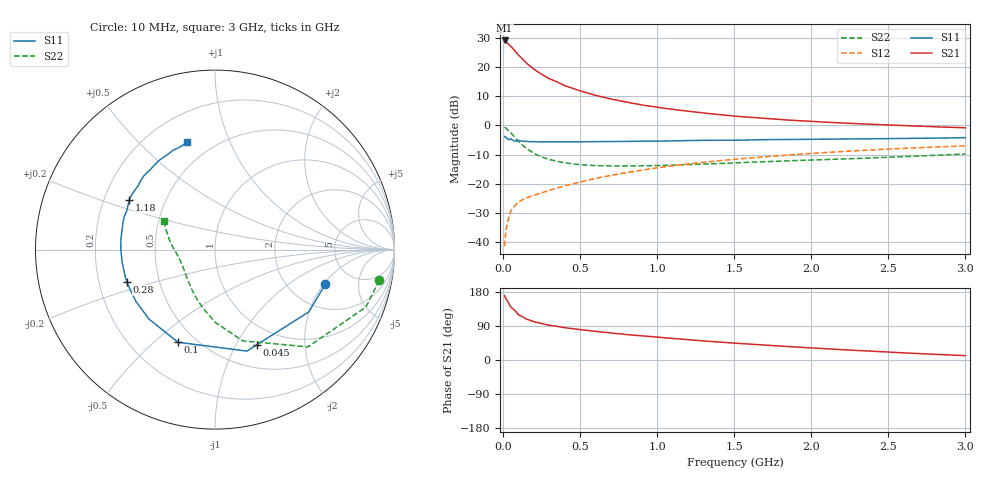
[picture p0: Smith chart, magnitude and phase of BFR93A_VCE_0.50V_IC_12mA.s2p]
! Infineon Technologies  Discrete & RF Semiconductors
! BFR93A
! VCE = 0.50 V,  IC =  12 mA
! Common Emitter S-Parameters:  Nov 2015
# GHz  S  MA  R  50
!  f  S11  S21  S12  S22
! GHz  MAG  ANG  MAG  ANG  MAG  ANG  MAG  ANG
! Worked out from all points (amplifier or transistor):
!   180 points, 10 MHz to 3 GHz, reference 50 ohm
!   highest |S21| = 29.0 dB at 10 MHz (marker M1)
!   |S21| within 3 dB of that: start of sweep to 67.43 MHz
!   unconditionally stable (mu >= 1): 425.2 MHz to end of sweep
!   at 160 MHz: K = 0.60, MSG = 22.8 dB, |S12| = -24.6 dB
!   at 1.22 GHz: K = 1.14, MAG = 6.7 dB, |S12| = -13.1 dB
!   at 3 GHz: K = 1.05, MAG = 1.7 dB, |S12| = -7.0 dB
!   S11 on the Smith chart (normalised r, x): 10 MHz: 3.17, -2.08; 45 MHz: 0.77, -1.22; 100 MHz: 0.40, -0.60; 280 MHz: 0.32, -0.16; 1.18 GHz: 0.31, +0.24; 3 GHz: 0.37, +0.71
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0.01  0.6446 -17.3  28.34 170.0  0.0086 82.4  0.931 -10.6
0.02  0.6274 -33.6  27.11 160.8  0.0166 75.1  0.8997 -20.8
0.045  0.5788 -66.1  23.15 143.6  0.0314 62.0  0.7629 -41.4
0.05  0.5926 -72.6  22.66 139.6  0.0344 60.7  0.7498 -46.3
0.1  0.5558 -111.7  15.93 119.3  0.0493 49.8  0.5314 -73.1
0.15  0.5341 -133.4  11.69 108.0  0.0572 47.4  0.4053 -89.8
0.2  0.5266 -146.8  9.133 100.9  0.064 48.0  0.3325 -101.7
0.24  0.5231 -154.2  7.784 96.8  0.0692 49.1  0.2971 -109.2
0.28  0.5223 -159.9  6.756 93.4  0.0747 50.5  0.2715 -115.7
0.3  0.5227 -162.5  6.297 91.6  0.0775 51.2  0.2607 -119.0
0.4  0.5222 -172.6  4.787 85.2  0.0924 54.1  0.229 -131.3
0.5  0.5248 179.6  3.883 80.0  0.1077 55.6  0.213 -140.1
0.52  0.5249 178.4  3.758 79.2  0.1109 55.8  0.2112 -141.6
0.6  0.5273 173.7  3.265 75.4  0.1237 56.6  0.2053 -147.6
0.7  0.5289 168.9  2.821 71.1  0.1396 56.9  0.2021 -153.4
0.8  0.5338 164.5  2.493 67.2  0.1555 56.9  0.2019 -158.6
1.02  0.5385 155.5  2.005 59.6  0.1907 55.5  0.2061 -167.1
1.18  0.5513 150.1  1.772 54.3  0.2157 54.0  0.2132 -172.3
1.52  0.5578 139.7  1.428 43.9  0.2659 50.1  0.2301 178.9
2.02  0.5781 126.2  1.161 31.5  0.3341 43.5  0.2566 169.1
2.52  0.5956 114.8  1.012 20.5  0.3956 36.1  0.2864 160.0
3  0.617 104.4  0.91 11.5  0.4467 28.8  0.3248 150.8
